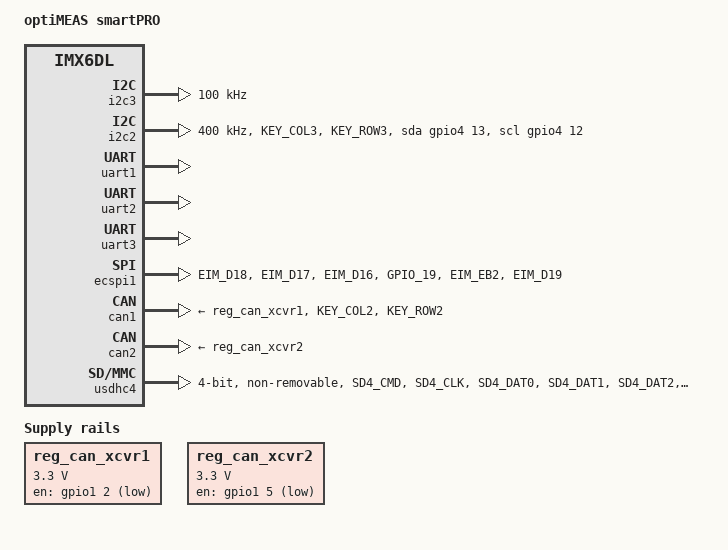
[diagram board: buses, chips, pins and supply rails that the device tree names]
/*
 * Copyright (C) 2016-2018 optiMEAS Measurement and Automation Systems GmbH
 * Author: Matthias Klein <matthias.klein@optimeas.de> 
 *
 * This program is free software; you can redistribute it and/or modify
 * it under the terms of the GNU General Public License version 2 as
 * published by the Free Software Foundation.
 *
 * based on imx6dl-tx6s-8035.dts
 */

/dts-v1/;
#include "imx6dl.dtsi"
#include "imx6qdl-tx6.dtsi"

/ {
	model = "optiMEAS smartPRO";
	compatible = "optimeas,tx6s-smartpro", "karo,imx6dl-tx6dl", "fsl,imx6dl";

	cpus {
		/delete-node/ cpu@1;
	};
	
	/delete-node/ reg_can_xcvr;
	
	reg_can_xcvr1: regulator-can-xcvr1 {
		compatible = "regulator-fixed";
		regulator-name = "CAN XCVR";
		regulator-min-microvolt = <3300000>;
		regulator-max-microvolt = <3300000>;
		pinctrl-names = "default";
		pinctrl-0 = <&pinctrl_flexcan_xcvr1>;
		gpio = <&gpio1 2 GPIO_ACTIVE_LOW>;
	};

	reg_can_xcvr2: regulator-can-xcvr2 {
		compatible = "regulator-fixed";
		regulator-name = "CAN XCVR";
		regulator-min-microvolt = <3300000>;
		regulator-max-microvolt = <3300000>;
		pinctrl-names = "default";
		pinctrl-0 = <&pinctrl_flexcan_xcvr2>;
		gpio = <&gpio1 5 GPIO_ACTIVE_LOW>;
	};	
};

/* I2C1 - pin 40 + 41 */
&i2c3 {
	clock-frequency = <100000>;
	status = "okay";

/* LM75 is controlled by software 	
	sensor1: lm75@48 {
		compatible = "lm75";
		reg = <0x48>;
	};
*/
};

/* I2C2 - pin 80 + 75 */
&i2c2 {
	pinctrl-names = "default", "gpio";
	pinctrl-0 = <&pinctrl_i2c2>;
	pinctrl-1 = <&pinctrl_i2c2_gpio>;
	scl-gpios = <&gpio4 12 GPIO_ACTIVE_HIGH>;
	sda-gpios = <&gpio4 13 GPIO_ACTIVE_HIGH>;
	clock-frequency = <400000>;
	status = "okay";
};

/* I2S1 - pin 83 - 87 */
&ssi1 {
	status = "disabled";
};

/* I2S1 - pin 89 - 93 */
&ssi2 {
	status = "disabled";
};

&uart1 {
	pinctrl-names = "default";
	pinctrl-0 = <&pinctrl_uart1>;
	/delete-property/ uart-has-rtscts;
	status = "okay";
};

&uart2 {
	pinctrl-names = "default";
	pinctrl-0 = <&pinctrl_uart2 &pinctrl_uart2_rtscts>;
    uart-has-rtscts;
	status = "okay";
};

&uart3 {
	pinctrl-names = "default";
	pinctrl-0 = <&pinctrl_uart3 &pinctrl_uart3_rtscts>;
	uart-has-rtscts;
	status = "okay";
};


/* SPI1 - pin 44 - 49 */
&ecspi1 {
    compatible = "om,imx53-ecspi";
	pinctrl-0 = <&pinctrl_ecspi1_native_cs>;
    fsl,spi-num-chipselects = <2>;
    status = "okay";
    /delete-node/ spi@0;
    /delete-node/ spi@1;
};

/* SPI2 - pin 161 - 164, 180 */
&ecspi2 {
	pinctrl-names = "default";
	pinctrl-0 = <&pinctrl_ecspi2>;
	cs-gpios = <
		&gpio5 29 GPIO_ACTIVE_HIGH
		&gpio2 27 GPIO_ACTIVE_HIGH
	>;
	status = "disabled";
};

&usbotg {
    status = "disabled";
};

/* CAN1 - pin 74, 79, 77 */
&can1 {
    xceiver-supply = <&reg_can_xcvr1>;
    pinctrl-0 = <&pinctrl_flexcan1_smartlog>;
	status = "okay";
};

/* CAN2 - pin 76, 81, 78 */
&can2 {
    xceiver-supply = <&reg_can_xcvr2>;
	status = "okay";
};

&kpp {
	status = "disabled"; /* pads partially clash with several other I/Os */
};


&reg_lcd0_pwr {
	status = "disabled";
};

/* LDB, LVDS Interface, pin 117 - 137, Beispiel, deaktiviert */
&ldb {
	status = "disable";

	lvds0: lvds-channel@0 {
		fsl,data-mapping = "spwg";
		fsl,data-width = <18>;
		status = "disable";

		display-timings {
			native-mode = <&lvds0_timing0>;

			lvds0_timing0: hsd100pxn1 {
				clock-frequency = <65000000>;
				hactive = <1024>;
				vactive = <768>;
				hback-porch = <220>;
				hfront-porch = <40>;
				vback-porch = <21>;
				vfront-porch = <7>;
				hsync-len = <60>;
				vsync-len = <10>;
				hsync-active = <0>;
				vsync-active = <0>;
				de-active = <1>;
				pixelclk-active = <1>;
			};
		};
	};

	lvds1: lvds-channel@1 {
		fsl,data-mapping = "spwg";
		fsl,data-width = <18>;
		status = "disable";

		display-timings {
			native-mode = <&lvds1_timing0>;

			lvds1_timing0: hsd100pxn1 {
				clock-frequency = <65000000>;
				hactive = <1024>;
				vactive = <768>;
				hback-porch = <220>;
				hfront-porch = <40>;
				vback-porch = <21>;
				vfront-porch = <7>;
				hsync-len = <60>;
				vsync-len = <10>;
				hsync-active = <0>;
				vsync-active = <0>;
				de-active = <1>;
				pixelclk-active = <1>;
			};
		};
	};
};


/* EMMC */
&usdhc4 { 
	pinctrl-names = "default";
	pinctrl-0 = <&pinctrl_usdhc4>;
	bus-width = <4>;
	non-removable;
	no-1-8-v;
	fsl,wp-controller;
	status = "okay";
};


&iomuxc {
	pinctrl-0 = <&pinctrl_hog &pinctrl_optimeas>;

	pinctrl_optimeas: optimeasgrp {
		fsl,pins = <
			MX6QDL_PAD_NANDF_CS2__GPIO6_IO15    0x1b0b0 /* IN:  GPIO6[15]  - BOOT_SELECT_0     */
			MX6QDL_PAD_EIM_D29__GPIO3_IO29      0x1b0b0 /* IN:  GPIO2[29]  - BOOT_SELECT_1     */
			MX6QDL_PAD_GPIO_9__GPIO1_IO09       0x1f0f0	/* OUT: GPIO NR9   - USB_HUB_RESET         */
			MX6QDL_PAD_GPIO_1__GPIO1_IO01       0x1f0f0	/* OUT: GPIO NR1   - BUZZER  TODO: collides with PWM */                     
			MX6QDL_PAD_EIM_A18__GPIO2_IO20      0x1f0f0	/* OUT: GPIO2[20]  - FPGA_MISC_0       */
			MX6QDL_PAD_EIM_A17__GPIO2_IO21      0x1f0f0	/* OUT: GPIO2[21]  - FPGA_MISC_1       */
			MX6QDL_PAD_EIM_A20__GPIO2_IO18      0x1f0f0	/* OUT: GPIO2[18]  - FPGA_MISC_2       */
			MX6QDL_PAD_EIM_A19__GPIO2_IO19		0x1f0f0	/* OUT: GPIO2[19]  - FPGA_MISC_3       */
			MX6QDL_PAD_EIM_A22__GPIO2_IO16		0x1f0f0	/* OUT: GPIO2[16]  - FPGA_MISC_4       */
			MX6QDL_PAD_EIM_A21__GPIO2_IO17		0x1f0f0	/* OUT: GPIO2[17]  - FPGA_MISC_5       */
			MX6QDL_PAD_EIM_A24__GPIO5_IO04      0x1f0f0	/* OUT: GPIO5[4]   - FPGA_MISC_6       */
			MX6QDL_PAD_EIM_A23__GPIO6_IO06		0x1f0f0	/* OUT: GPIO6[6]   - FPGA_MISC_7       */
  			MX6QDL_PAD_CSI0_DAT12__GPIO5_IO30	0x1f0f0	/* OUT: GPIO NR 158 - ENV_DO_0         */
			MX6QDL_PAD_CSI0_DAT13__GPIO5_IO31	0x1f0f0	/* OUT: GPIO NR 159 - ENV_DO_1         */
			MX6QDL_PAD_CSI0_DAT14__GPIO6_IO00	0x1f0f0	/* OUT: GPIO NR 160 - ENV_DO_2         */
			MX6QDL_PAD_CSI0_DAT15__GPIO6_IO01	0x1f0f0	/* OUT: GPIO NR 161 - ENV_DO_3         */
			MX6QDL_PAD_CSI0_DAT16__GPIO6_IO02	0x1b0b0	/* IN:  GPIO NR 162 - ENV_DI_0         */
			MX6QDL_PAD_CSI0_DAT17__GPIO6_IO03	0x1b0b0	/* IN:  GPIO NR 163 - ENV_DI_1         */
			MX6QDL_PAD_CSI0_DAT18__GPIO6_IO04	0x1b0b0	/* IN:  GPIO NR 164 - ENV_DI_2         */
			MX6QDL_PAD_CSI0_DAT19__GPIO6_IO05	0x1b0b0	/* IN:  GPIO NR 165 - ENV_DI_3         */
			MX6QDL_PAD_DI0_PIN15__GPIO4_IO17	0x1b0b0	/* IN:  GPIO NR 113 - BUTTON_POWER     */
			MX6QDL_PAD_DI0_PIN2__GPIO4_IO18		0x1b0b0	/* IN:  GPIO NR 114 - BUTTON_USER      */
		>;
	};

	pinctrl_i2c2: i2c2grp {
		fsl,pins = <
			MX6QDL_PAD_KEY_COL3__I2C2_SCL		0x4001b8b1
			MX6QDL_PAD_KEY_ROW3__I2C2_SDA		0x4001b8b1
		>;
	};

	pinctrl_i2c2_gpio: i2c2-gpiogrp {
		fsl,pins = <
			MX6QDL_PAD_KEY_COL3__GPIO4_IO12		0x4001b8b1
			MX6QDL_PAD_KEY_ROW3__GPIO4_IO13		0x4001b8b1
		>;
	};
	
	pinctrl_ecspi2: ecspi2grp {
		fsl,pins = <
			MX6QDL_PAD_CSI0_DAT8__ECSPI2_SCLK	0x0b0b0
			MX6QDL_PAD_CSI0_DAT9__ECSPI2_MOSI	0x0b0b0
			MX6QDL_PAD_CSI0_DAT10__ECSPI2_MISO	0x0b0b0
			MX6QDL_PAD_CSI0_DAT11__GPIO5_IO29   0x0b0b0 /* SPI2 CS0 */
			MX6QDL_PAD_EIM_LBA__GPIO2_IO27      0x0b0b0 /* SPI2 CS1 */
		>;
	};
	
	pinctrl_flexcan1_smartlog: flexcan1grp {
		fsl,pins = <
			MX6QDL_PAD_KEY_COL2__FLEXCAN1_TX	0x1b0b0
			MX6QDL_PAD_KEY_ROW2__FLEXCAN1_RX	0x1b0b0
		>;
	};	
	
	pinctrl_flexcan_xcvr1: flexcan-xcvr1grp {
		fsl,pins = <
			MX6QDL_PAD_GPIO_2__GPIO1_IO02       0x1b0b0 /* Flexcan XCVR enable */
		>;
	};
	
	pinctrl_flexcan_xcvr2: flexcan-xcvr2grp {
		fsl,pins = <
			MX6QDL_PAD_GPIO_5__GPIO1_IO05       0x1b0b0 /* Flexcan XCVR enable */
		>;
	};

	pinctrl_usdhc4: usdhc4grp {
		fsl,pins = <
			MX6QDL_PAD_SD4_CMD__SD4_CMD		0x070b1
			MX6QDL_PAD_SD4_CLK__SD4_CLK		0x070b1
			MX6QDL_PAD_SD4_DAT0__SD4_DATA0		0x070b1
			MX6QDL_PAD_SD4_DAT1__SD4_DATA1		0x070b1
			MX6QDL_PAD_SD4_DAT2__SD4_DATA2		0x070b1
			MX6QDL_PAD_SD4_DAT3__SD4_DATA3		0x070b1
			MX6QDL_PAD_NANDF_ALE__SD4_RESET		0x0b0b1
		>;
	};

	pinctrl_ecspi1_native_cs: ecspi1grp_native_cs {
		fsl,pins = <
			MX6QDL_PAD_EIM_D18__ECSPI1_MOSI		0x0b0b0
			MX6QDL_PAD_EIM_D17__ECSPI1_MISO		0x0b0b0
			MX6QDL_PAD_EIM_D16__ECSPI1_SCLK		0x0b0b0
			MX6QDL_PAD_GPIO_19__ECSPI1_RDY		0x0b0b0
			MX6QDL_PAD_EIM_EB2__ECSPI1_SS0		0x0b0b0 /* SPI CS0 - native */
			MX6QDL_PAD_EIM_D19__ECSPI1_SS1		0x0b0b0 /* SPI CS1 - native */
		>;
	};
};

